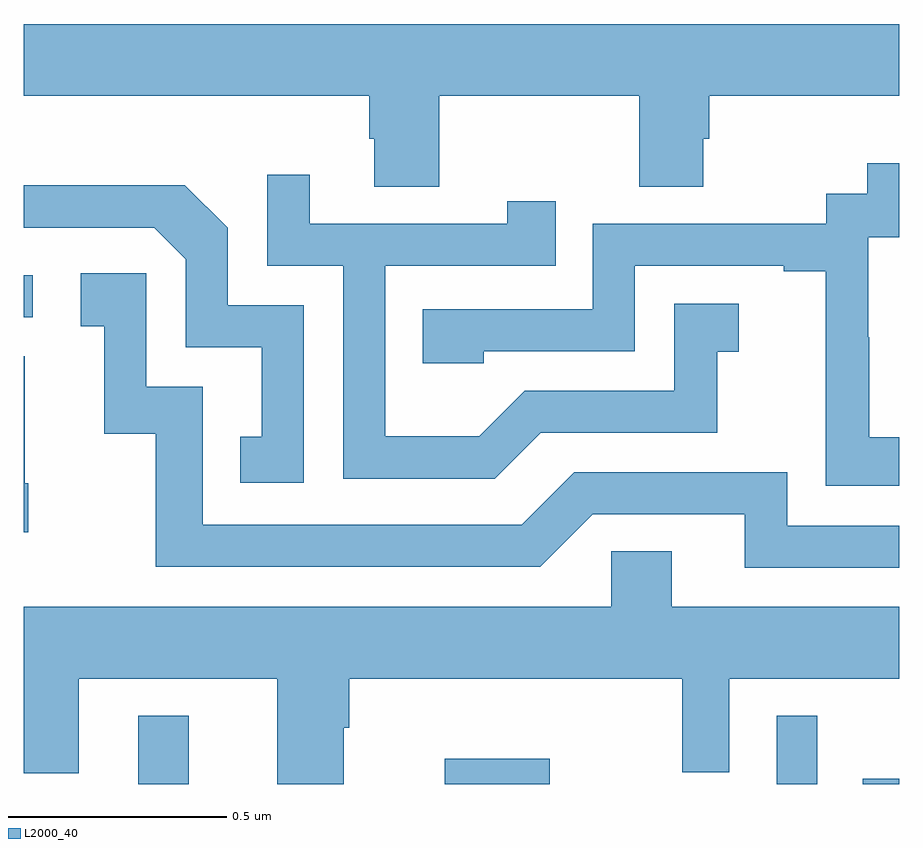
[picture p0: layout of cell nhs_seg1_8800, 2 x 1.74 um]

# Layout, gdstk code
import gdstk
lib = gdstk.Library(unit=1e-6, precision=1e-09)
def R(c, l, rs):  # rectangles x0, y0, x1, y1
    for r in rs: c.add(gdstk.rectangle(r[:2], r[2:], *l))
def P(c, l, *ps):  # polygons
    for p in ps: c.add(gdstk.Polygon(p, *l))
L2000_40 = (2000, 40)

nhs_seg1_8800 = lib.new_cell('nhs_seg1_8800')
R(nhs_seg1_8800, L2000_40, [(221.261,510.199,221.377,510.355), (221.962,510.199,222.202,510.257), (222.72,510.199,222.813,510.355), (222.917,510.199,223,510.211), (221,511.266,221.02,511.362)])
P(nhs_seg1_8800, L2000_40, [(221.949,511.772),(222.406,511.772),(222.406,511.564),(222.553,511.564),(222.553,511.674),(222.566,511.674),(222.566,511.772),(223,511.772),(223,511.936),(221,511.936),(221,511.772),(221.789,511.772),(221.789,511.674),(221.801,511.674),(221.801,511.564),(221.949,511.564)],
  [(223,510.991),(222.932,510.991),(222.932,511.22),(222.93,511.22),(222.93,511.449),(223,511.449),(223,511.618),(222.927,511.618),(222.927,511.548),(222.834,511.548),(222.834,511.479),(222.3,511.479),(222.3,511.284),(221.911,511.284),(221.911,511.161),(222.051,511.161),(222.051,511.188),(222.396,511.188),(222.396,511.383),(222.737,511.383),(222.737,511.371),(222.833,511.371),(222.833,511.087),(222.832,511.087),(222.832,510.881),(223,510.881)],
  [(222.181,511.002),(222.585,511.002),(222.585,511.187),(222.634,511.187),(222.634,511.297),(222.486,511.297),(222.486,511.098),(222.144,511.098),(222.04,510.994),(221.826,510.994),(221.826,511.383),(222.215,511.383),(222.215,511.531),(222.104,511.531),(222.104,511.479),(221.653,511.479),(221.653,511.591),(221.556,511.591),(221.556,511.383),(221.73,511.383),(221.73,510.897),(222.076,510.897)],
  [(221.64,511.293),(221.466,511.293),(221.466,511.47),(221.368,511.568),(221,511.568),(221,511.47),(221.298,511.47),(221.37,511.398),(221.37,511.197),(221.543,511.197),(221.543,510.993),(221.494,510.993),(221.494,510.888),(221.64,510.888)],
  [(223,510.789),(222.744,510.789),(222.744,510.912),(222.258,510.912),(222.138,510.792),(221.409,510.792),(221.409,511.107),(221.28,511.107),(221.28,511.366),(221.13,511.366),(221.13,511.245),(221.183,511.245),(221.183,510.999),(221.301,510.999),(221.301,510.696),(222.18,510.696),(222.3,510.816),(222.647,510.816),(222.647,510.693),(223,510.693)],
  [(221.01,510.886),(221.002,510.886),(221.002,511.177),(221,511.177),(221,510.774),(221.01,510.774)],
  [(221.731,510.327),(221.744,510.327),(221.744,510.44),(222.504,510.44),(222.504,510.226),(222.612,510.226),(222.612,510.44),(223,510.44),(223,510.604),(222.481,510.604),(222.481,510.731),(222.342,510.731),(222.342,510.604),(221,510.604),(221,510.224),(221.125,510.224),(221.125,510.44),(221.579,510.44),(221.579,510.199),(221.731,510.199)])

lib.write_gds('nhs_seg1_8800.gds')
